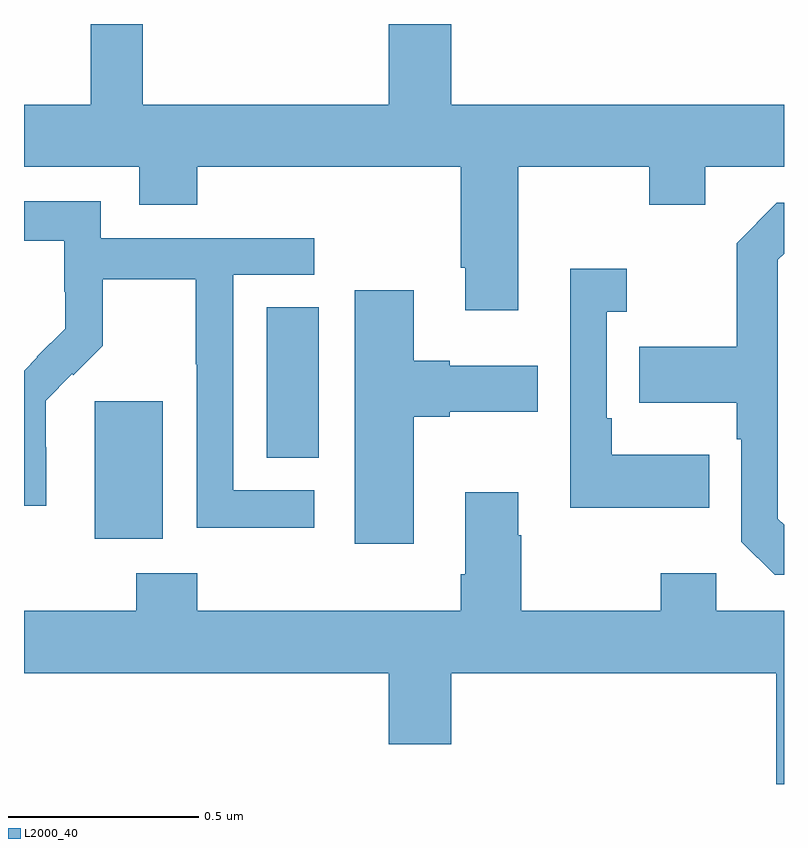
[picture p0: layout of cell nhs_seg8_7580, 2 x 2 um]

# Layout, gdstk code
import gdstk
lib = gdstk.Library(unit=1e-6, precision=1e-09)
def R(c, l, rs):  # rectangles x0, y0, x1, y1
    for r in rs: c.add(gdstk.rectangle(r[:2], r[2:], *l))
def P(c, l, *ps):  # polygons
    for p in ps: c.add(gdstk.Polygon(p, *l))
L2000_40 = (2000, 40)

nhs_seg8_7580 = lib.new_cell('nhs_seg8_7580')
R(nhs_seg8_7580, L2000_40, [(212.186,1091.546,212.365,1091.907), (212.639,1091.758,212.776,1092.155)])
P(nhs_seg8_7580, L2000_40, [(213.301,1092.524),(213.646,1092.524),(213.646,1092.425),(213.793,1092.425),(213.793,1092.524),(214,1092.524),(214,1092.688),(213.124,1092.688),(213.124,1092.9),(212.96,1092.9),(212.96,1092.688),(212.312,1092.688),(212.312,1092.9),(212.176,1092.9),(212.176,1092.688),(212,1092.688),(212,1092.524),(212.303,1092.524),(212.303,1092.425),(212.456,1092.425),(212.456,1092.524),(213.149,1092.524),(213.149,1092.259),(213.161,1092.259),(213.161,1092.147),(213.301,1092.147)],
  [(212.764,1091.673),(212.55,1091.673),(212.55,1092.24),(212.764,1092.24),(212.764,1092.336),(212.202,1092.336),(212.202,1092.433),(212,1092.433),(212,1092.329),(212.106,1092.329),(212.106,1092.195),(212.108,1092.195),(212.108,1092.098),(212.034,1092.024),(212.035,1092.023),(212,1091.988),(212,1091.632),(212.058,1091.632),(212.058,1091.786),(212.057,1091.786),(212.057,1091.909),(212.127,1091.979),(212.13,1091.976),(212.207,1092.053),(212.207,1092.228),(212.452,1092.228),(212.452,1092.004),(212.454,1092.004),(212.454,1091.575),(212.764,1091.575)],
  [(214,1091.582),(213.984,1091.598),(213.984,1092.279),(214,1092.295),(214,1092.429),(213.981,1092.429),(213.876,1092.323),(213.876,1092.051),(213.619,1092.051),(213.619,1091.903),(213.876,1091.903),(213.876,1091.807),(213.888,1091.807),(213.888,1091.538),(213.975,1091.451),(214,1091.451)],
  [(213.803,1091.767),(213.547,1091.767),(213.547,1091.863),(213.534,1091.863),(213.534,1092.143),(213.586,1092.143),(213.586,1092.256),(213.438,1092.256),(213.438,1091.627),(213.803,1091.627)],
  [(213.025,1091.867),(213.121,1091.867),(213.121,1091.879),(213.352,1091.879),(213.352,1092.001),(213.121,1092.001),(213.121,1092.014),(213.025,1092.014),(213.025,1092.199),(212.87,1092.199),(212.87,1091.532),(213.025,1091.532)],
  [(212.456,1091.455),(212.296,1091.455),(212.296,1091.356),(212,1091.356),(212,1091.192),(212.96,1091.192),(212.96,1091.004),(213.124,1091.004),(213.124,1091.192),(213.98,1091.192),(213.98,1090.9),(214,1090.9),(214,1091.356),(213.822,1091.356),(213.822,1091.455),(213.676,1091.455),(213.676,1091.356),(213.309,1091.356),(213.309,1091.555),(213.301,1091.555),(213.301,1091.668),(213.161,1091.668),(213.161,1091.452),(213.149,1091.452),(213.149,1091.356),(212.456,1091.356)])

lib.write_gds('nhs_seg8_7580.gds')
